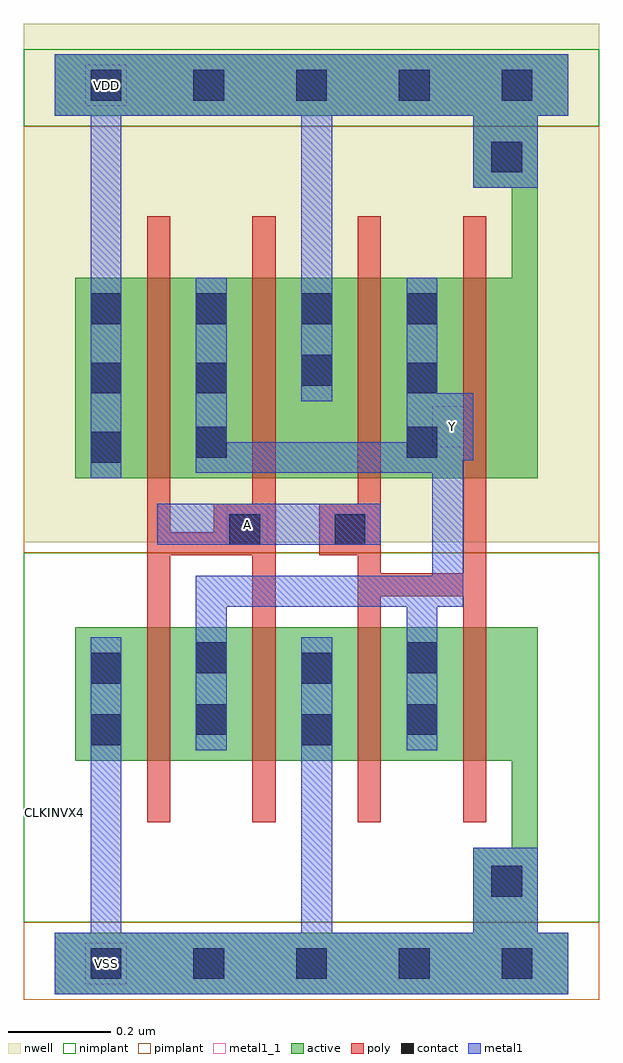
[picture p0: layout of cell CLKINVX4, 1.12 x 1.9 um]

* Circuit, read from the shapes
.subckt CLKINVX4 A VDD VSS Y
M1 Y A VSS VSS nfet w=0.26u l=0.045u m=4
M2 Y A VDD VDD pfet w=0.39u l=0.045u m=4
.ends

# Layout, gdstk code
import gdstk
lib = gdstk.Library(unit=1e-6, precision=5e-10)
def R(c, l, rs):  # rectangles x0, y0, x1, y1
    for r in rs: c.add(gdstk.rectangle(r[:2], r[2:], *l))
def A(c, l, x, y, w, h, nx, ny, dx, dy):  # array of equal rectangles
    R(c, l, [(x+i*dx, y+j*dy, x+i*dx+w, y+j*dy+h) for i in range(nx) for j in range(ny)])
def P(c, l, *ps):  # polygons
    for p in ps: c.add(gdstk.Polygon(p, *l))
active = (1, 0)
nwell = (2, 0)
poly = (3, 0)
nimplant = (4, 0)
pimplant = (5, 0)
contact = (6, 0)
metal1 = (7, 0)
metal1_1 = (7, 1)

clkinvx4 = lib.new_cell('CLKINVX4')
P(clkinvx4, active, [(1,0.06),(0.94,0.06),(0.94,0.655),(0.04,0.655),(0.04,0.395),(0.89,0.395),(0.89,0.225),(0.815,0.225),(0.815,0.06),(0,0.06),(0,-0.06),(1,-0.06)],
  [(1,1.77),(0,1.77),(0,1.65),(0.815,1.65),(0.815,1.51),(0.89,1.51),(0.89,1.335),(0.04,1.335),(0.04,0.945),(0.94,0.945),(0.94,1.65),(1,1.65)])
R(clkinvx4, nwell, [(-0.06,0.82,1.06,1.83)])
P(clkinvx4, poly, [(0.84,1.455),(0.795,1.455),(0.795,0.76),(0.635,0.76),(0.635,1.455),(0.59,1.455),(0.59,0.895),(0.515,0.895),(0.515,0.795),(0.59,0.795),(0.59,0.275),(0.635,0.275),(0.635,0.715),(0.795,0.715),(0.795,0.275),(0.84,0.275)],
  [(0.43,1.455),(0.385,1.455),(0.385,0.895),(0.31,0.895),(0.31,0.84),(0.225,0.84),(0.225,1.455),(0.18,1.455),(0.18,0.275),(0.225,0.275),(0.225,0.795),(0.385,0.795),(0.385,0.275),(0.43,0.275)])
R(clkinvx4, nimplant, [(-0.06,0.08,1.06,0.8), (-0.06,1.63,1.06,1.78)])
R(clkinvx4, pimplant, [(-0.06,-0.07,1.06,0.08), (-0.06,0.8,1.06,1.63)])
A(clkinvx4, contact, 0.07, -0.03, 0.06, 0.06, 5, 2, 0.2, 1.71)
A(clkinvx4, contact, 0.07, 1.245, 0.06, 0.06, 4, 1, 0.205, 0)
R(clkinvx4, contact, [(0.85,0.13,0.91,0.19), (0.07,0.425,0.13,0.485), (0.48,0.425,0.54,0.485), (0.275,0.445,0.335,0.505), (0.685,0.445,0.745,0.505), (0.07,0.545,0.13,0.605), (0.48,0.545,0.54,0.605), (0.275,0.565,0.335,0.625), (0.685,0.565,0.745,0.625), (0.34,0.815,0.4,0.875), (0.545,0.815,0.605,0.875), (0.07,0.975,0.13,1.035), (0.275,0.985,0.335,1.045), (0.685,0.985,0.745,1.045), (0.07,1.11,0.13,1.17), (0.275,1.11,0.335,1.17), (0.685,1.11,0.745,1.17), (0.48,1.125,0.54,1.185), (0.85,1.54,0.91,1.6)])
R(clkinvx4, metal1, [(0.2,0.815,0.635,0.895)])
P(clkinvx4, metal1, [(1,0.06),(0.94,0.06),(0.94,0.225),(0.815,0.225),(0.815,0.06),(0.54,0.06),(0.54,0.635),(0.48,0.635),(0.48,0.06),(0.13,0.06),(0.13,0.635),(0.07,0.635),(0.07,0.06),(0,0.06),(0,-0.06),(1,-0.06)],
  [(1,1.77),(0,1.77),(0,1.65),(0.07,1.65),(0.07,0.945),(0.13,0.945),(0.13,1.65),(0.48,1.65),(0.48,1.095),(0.54,1.095),(0.54,1.65),(0.815,1.65),(0.815,1.51),(0.94,1.51),(0.94,1.65),(1,1.65)],
  [(0.815,1.11),(0.745,1.11),(0.745,1.335),(0.685,1.335),(0.685,1.015),(0.335,1.015),(0.335,1.335),(0.275,1.335),(0.275,0.955),(0.735,0.955),(0.735,0.755),(0.275,0.755),(0.275,0.415),(0.335,0.415),(0.335,0.695),(0.685,0.695),(0.685,0.415),(0.745,0.415),(0.745,0.695),(0.795,0.695),(0.795,0.98),(0.815,0.98)])
R(clkinvx4, metal1_1, [(0.06,-0.04,0.14,0.04), (0.335,0.815,0.415,0.895), (0.735,1.005,0.815,1.085), (0.06,1.67,0.14,1.75)])
clkinvx4.add(gdstk.Label('VSS', (0.1,0), layer=7, texttype=1))
clkinvx4.add(gdstk.Label('Y', (0.775,1.045), layer=7, texttype=1))
clkinvx4.add(gdstk.Label('A', (0.375,0.855), layer=7, texttype=1))
clkinvx4.add(gdstk.Label('VDD', (0.1,1.71), layer=7, texttype=1))
clkinvx4.add(gdstk.Label('CLKINVX4', (0,0.295), layer=63, texttype=0))

lib.write_gds('CLKINVX4.gds')
